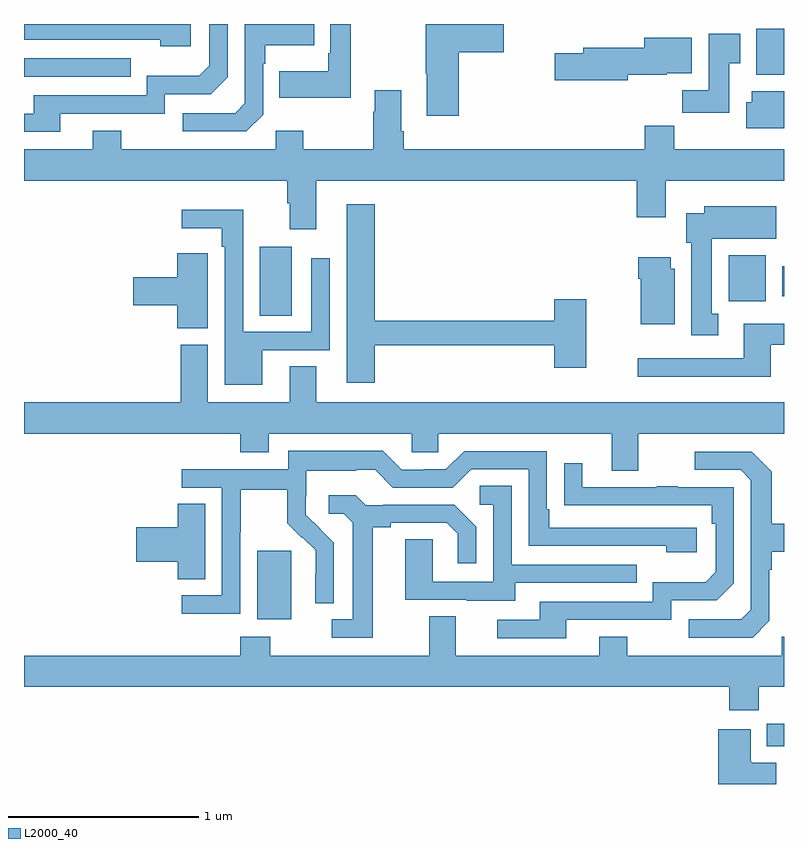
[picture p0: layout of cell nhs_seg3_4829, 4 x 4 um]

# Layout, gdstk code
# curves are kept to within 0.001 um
import gdstk
lib = gdstk.Library(unit=1e-6, precision=1e-09)
def R(c, l, rs):  # rectangles x0, y0, x1, y1
    for r in rs: c.add(gdstk.rectangle(r[:2], r[2:], *l))
def P(c, l, *ps):  # polygons
    for p in ps: c.add(gdstk.Polygon(p, *l))
L2000_40 = (2000, 40)

nhs_seg3_4829 = lib.new_cell('nhs_seg3_4829')
R(nhs_seg3_4829, L2000_40, [(374.909,704.6,375,704.718), (372.227,705.266,372.406,705.627), (372.242,706.864,372.409,707.227), (374.708,706.94,374.905,707.182), (374.99,706.968,375,707.124), (371,708.123,371.561,708.219), (374.855,708.134,375,708.376)])
P(nhs_seg3_4829, L2000_40, [(371.191,707.928),(371.742,707.928),(371.742,708.03),(371.982,708.03),(372.072,708.12),(372.072,708.4),(371.976,708.4),(371.976,708.18),(371.923,708.127),(371.646,708.127),(371.646,708.024),(371.051,708.024),(371.051,707.928),(371,707.928),(371,707.832),(371.191,707.832)],
  [(372.258,707.922),(372.258,708.191),(372.271,708.191),(372.271,708.287),(372.527,708.287),(372.527,708.4),(372.162,708.4),(372.162,707.982),(372.111,707.931),(371.835,707.931),(371.835,707.835),(372.171,707.835)],
  [(372.721,708.4),(372.612,708.4),(372.612,708.247),(372.6,708.247),(372.6,708.151),(372.343,708.151),(372.343,708.011),(372.721,708.011)],
  [(373.289,708.251),(373.525,708.251),(373.525,708.398),(373.289,708.398),(373.289,708.4),(373.114,708.4),(373.114,708.139),(373.121,708.139),(373.121,707.916),(373.289,707.916)],
  [(371.878,708.4),(371,708.4),(371,708.318),(371.717,708.318),(371.717,708.284),(371.878,708.284)],
  [(374.713,708.193),(374.77,708.193),(374.77,708.349),(374.603,708.349),(374.603,708.052),(374.464,708.052),(374.464,707.934),(374.713,707.934)],
  [(374.178,708.134),(374.382,708.134),(374.382,708.14),(374.515,708.14),(374.515,708.328),(374.264,708.328),(374.264,708.275),(373.943,708.275),(373.943,708.245),(373.794,708.245),(373.794,708.103),(374.178,708.103)],
  [(374.377,707.576),(375,707.576),(375,707.74),(374.423,707.74),(374.423,707.864),(374.267,707.864),(374.267,707.74),(372.998,707.74),(372.998,707.836),(372.985,707.836),(372.985,708.052),(372.845,708.052),(372.845,707.939),(372.838,707.939),(372.838,707.74),(372.471,707.74),(372.471,707.839),(372.324,707.839),(372.324,707.74),(371.511,707.74),(371.511,707.839),(371.363,707.839),(371.363,707.74),(371,707.74),(371,707.576),(372.386,707.576),(372.386,707.456),(372.398,707.456),(372.398,707.319),(372.538,707.319),(372.538,707.576),(374.225,707.576),(374.225,707.382),(374.377,707.382)],
  [(375,708.046),(374.831,708.046),(374.831,707.987),(374.801,707.987),(374.801,707.852),(375,707.852)],
  [(372.845,706.71),(373.79,706.71),(373.79,706.59),(373.96,706.59),(373.96,706.951),(373.79,706.951),(373.79,706.838),(372.845,706.838),(372.845,707.452),(372.698,707.452),(372.698,706.512),(372.845,706.512)],
  [(374.653,706.874),(374.62,706.874),(374.62,707.27),(374.959,707.27),(374.959,707.44),(374.579,707.44),(374.579,707.404),(374.486,707.404),(374.486,707.25),(374.513,707.25),(374.513,706.761),(374.653,706.761)],
  [(372.253,706.683),(372.609,706.683),(372.609,707.167),(372.513,707.167),(372.513,706.779),(372.153,706.779),(372.153,707.422),(371.829,707.422),(371.829,707.324),(372.041,707.324),(372.041,707.228),(372.057,707.228),(372.057,706.502),(372.253,706.502)],
  [(371.968,707.081),(371.967,707.081),(371.967,707.194),(371.807,707.194),(371.807,707.066),(371.574,707.066),(371.574,706.919),(371.807,706.919),(371.807,706.798),(371.968,706.798)],
  [(374.425,707.112),(374.404,707.112),(374.404,707.173),(374.234,707.173),(374.234,707.06),(374.246,707.06),(374.246,706.82),(374.425,706.82)],
  [(374.929,706.713),(375,706.713),(375,706.822),(374.789,706.822),(374.789,706.641),(374.229,706.641),(374.229,706.544),(374.929,706.544)],
  [(371.825,706.713),(371.825,706.408),(371,706.408),(371,706.244),(372.137,706.244),(372.137,706.145),(372.289,706.145),(372.289,706.244),(373.041,706.244),(373.041,706.146),(373.179,706.146),(373.179,706.244),(374.093,706.244),(374.093,706.05),(374.233,706.05),(374.233,706.244),(375,706.244),(375,706.408),(372.538,706.408),(372.538,706.598),(372.398,706.598),(372.398,706.408),(371.968,706.408),(371.968,706.713)],
  [(372.138,705.724),(372.141,705.724),(372.141,705.948),(372.385,705.948),(372.385,705.773),(372.462,705.696),(372.465,705.699),(372.536,705.629),(372.536,705.506),(372.534,705.506),(372.534,705.352),(372.63,705.352),(372.63,705.67),(372.484,705.818),(372.484,705.915),(372.486,705.915),(372.486,706.049),(372.749,706.049),(372.749,706.053),(372.849,706.053),(372.942,705.96),(373.257,705.96),(373.353,706.056),(373.656,706.056),(373.656,705.654),(374.381,705.654),(374.381,705.62),(374.542,705.62),(374.542,705.75),(373.765,705.75),(373.765,705.847),(373.752,705.847),(373.752,706.152),(373.317,706.152),(373.221,706.056),(373.103,706.056),(373.103,706.053),(372.987,706.053),(372.887,706.153),(372.39,706.153),(372.39,706.056),(371.829,706.056),(371.829,705.96),(372.042,705.96),(372.042,705.393),(371.829,705.393),(371.829,705.295),(372.138,705.295)],
  [(374.922,705.258),(374.922,705.527),(374.935,705.527),(374.935,705.623),(375,705.623),(375,705.771),(374.935,705.771),(374.935,706.043),(374.829,706.149),(374.529,706.149),(374.529,706.053),(374.772,706.053),(374.826,705.999),(374.826,705.318),(374.775,705.267),(374.499,705.267),(374.499,705.171),(374.835,705.171)],
  [(373.855,705.264),(374.406,705.264),(374.406,705.366),(374.646,705.366),(374.736,705.456),(374.736,705.963),(374.441,705.963),(374.441,705.968),(374.329,705.968),(374.329,705.963),(373.939,705.963),(373.939,706.087),(373.843,706.087),(373.843,705.868),(374.62,705.867),(374.62,705.77),(374.64,705.77),(374.64,705.516),(374.587,705.463),(374.31,705.463),(374.31,705.36),(373.715,705.36),(373.715,705.264),(373.491,705.264),(373.491,705.168),(373.855,705.168)],
  [(373.585,705.459),(374.225,705.459),(374.225,705.555),(373.566,705.555),(373.566,705.971),(373.398,705.971),(373.398,705.87),(373.47,705.87),(373.47,705.465),(373.152,705.465),(373.152,705.689),(373.007,705.689),(373.007,705.369),(373.331,705.369),(373.331,705.365),(373.585,705.365)],
  [(372.835,705.752),(372.931,705.752),(372.931,705.774),(373.226,705.774),(373.283,705.717),(373.283,705.561),(373.38,705.561),(373.38,705.754),(373.264,705.87),(372.892,705.87),(372.892,705.867),(372.798,705.867),(372.746,705.919),(372.603,705.919),(372.603,705.822),(372.684,705.822),(372.731,705.775),(372.731,705.267),(372.621,705.267),(372.621,705.171),(372.835,705.171)],
  [(371.953,705.875),(371.81,705.875),(371.81,705.752),(371.592,705.752),(371.592,705.569),(371.81,705.569),(371.81,705.478),(371.953,705.478)],
  [(374.867,704.912),(375,704.912),(375,705.175),(374.988,705.175),(374.988,705.076),(374.175,705.076),(374.175,705.175),(374.027,705.175),(374.027,705.076),(373.273,705.076),(373.273,705.284),(373.133,705.284),(373.133,705.076),(372.297,705.076),(372.297,705.175),(372.137,705.175),(372.137,705.076),(371,705.076),(371,704.912),(374.711,704.912),(374.711,704.788),(374.867,704.788)],
  [(374.959,704.512),(374.83,704.512),(374.83,704.518),(374.824,704.518),(374.824,704.689),(374.654,704.689),(374.654,704.4),(374.959,704.4)])

lib.write_gds('nhs_seg3_4829.gds')
